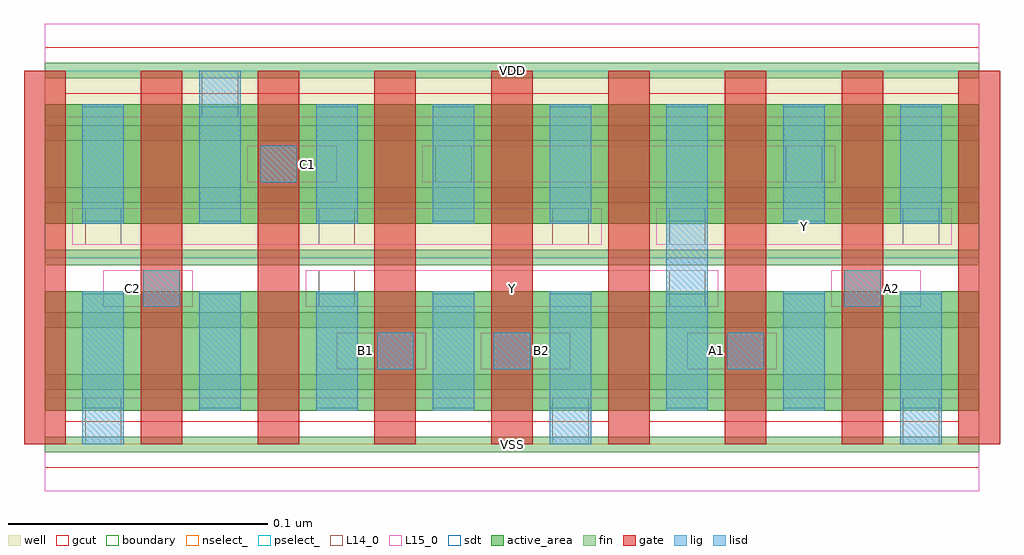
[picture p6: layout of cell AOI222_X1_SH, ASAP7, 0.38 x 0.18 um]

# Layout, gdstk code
import gdstk
lib = gdstk.Library(unit=1e-6, precision=2.5e-10)
def R(c, l, rs):  # rectangles x0, y0, x1, y1
    for r in rs: c.add(gdstk.rectangle(r[:2], r[2:], *l))
def A(c, l, x, y, w, h, nx, ny, dx, dy):  # array of equal rectangles
    R(c, l, [(x+i*dx, y+j*dy, x+i*dx+w, y+j*dy+h) for i in range(nx) for j in range(ny)])
def P(c, l, *ps):  # polygons
    for p in ps: c.add(gdstk.Polygon(p, *l))
well = (1, 0)
fin = (2, 0)
gate = (7, 0)
gcut = (10, 0)
active_area = (11, 0)
nselect_ = (12, 0)
pselect_ = (13, 0)
L14_0 = (14, 0)
L15_0 = (15, 0)
lig = (16, 0)
lisd = (17, 0)
sdt = (88, 0)
boundary = (100, 0)

aoi222_x1_sh = lib.new_cell('AOI222_X1_SH')
R(aoi222_x1_sh, well, [(0,0.072,0.36,0.144)])
A(aoi222_x1_sh, fin, 0, -0.003, 0.36, 0.006, 1, 7, 0, 0.024)
A(aoi222_x1_sh, gate, -0.008, 0, 0.016, 0.144, 9, 1, 0.045, 0)
P(aoi222_x1_sh, gcut, [(0,-0.009),(0,0),(-0.008,0),(-0.008,0.135),(0.008,0.135),(0.008,0.009),(0.217,0.009),(0.217,0.135),(0.233,0.135),(0.233,0.009),(0.352,0.009),(0.352,0.135),(-0.008,0.135),(-0.008,0.144),(0,0.144),(0,0.153),(0.36,0.153),(0.36,0.144),(0.368,0.144),(0.368,0),(0.36,0),(0.36,-0.009)])
R(aoi222_x1_sh, active_area, [(0,0.013,0.36,0.059), (0,0.085,0.36,0.131)])
R(aoi222_x1_sh, nselect_, [(0,0,0.36,0.072)])
R(aoi222_x1_sh, pselect_, [(0,0.072,0.36,0.144)])
A(aoi222_x1_sh, L14_0, 0.0155, 0.077, 0.014, 0.014, 3, 1, 0.09, 0)
R(aoi222_x1_sh, L14_0, [(0.0155,0,0.0295,0.018), (0.1955,0,0.2095,0.018), (0.3305,0,0.3445,0.018), (0.128,0.029,0.142,0.043), (0.173,0.029,0.187,0.043), (0.263,0.029,0.277,0.043), (0.038,0.053,0.052,0.067), (0.1055,0.053,0.1195,0.067), (0.2405,0.053,0.2545,0.067), (0.308,0.053,0.322,0.067), (0.2405,0.077,0.2545,0.091), (0.3305,0.077,0.3445,0.091), (0.083,0.101,0.097,0.115), (0.1505,0.101,0.1645,0.115), (0.2855,0.101,0.2995,0.115), (0.0605,0.126,0.0745,0.144)])
R(aoi222_x1_sh, L15_0, [(0,-0.018,0.36,0.018), (0.1125,0.029,0.147,0.043), (0.168,0.029,0.2025,0.043), (0.2475,0.029,0.282,0.043), (0.0225,0.053,0.057,0.067), (0.1005,0.053,0.2595,0.067), (0.303,0.053,0.3375,0.067), (0.0105,0.077,0.2145,0.091), (0.2355,0.077,0.3495,0.091), (0.078,0.101,0.1125,0.115), (0.1455,0.101,0.3045,0.115), (0,0.126,0.36,0.162)])
R(aoi222_x1_sh, lig, [(0.128,0.029,0.142,0.043), (0.173,0.029,0.187,0.043), (0.263,0.029,0.277,0.043), (0.038,0.053,0.052,0.067), (0.308,0.053,0.322,0.067), (0.083,0.101,0.097,0.115)])
A(aoi222_x1_sh, lisd, 0.0595, 0.013, 0.016, 0.046, 3, 1, 0.045, 0)
A(aoi222_x1_sh, lisd, 0.1045, 0.085, 0.016, 0.046, 3, 1, 0.045, 0)
R(aoi222_x1_sh, lisd, [(0.0145,0,0.0305,0.059), (0.1945,0,0.2105,0.059), (0.3295,0,0.3455,0.059), (0.2395,0.013,0.2555,0.131), (0.2845,0.013,0.3005,0.059), (0.0145,0.085,0.0305,0.131), (0.0595,0.085,0.0755,0.144), (0.2845,0.085,0.3005,0.131), (0.3295,0.085,0.3455,0.131)])
A(aoi222_x1_sh, sdt, 0.0145, 0.014, 0.016, 0.044, 8, 2, 0.045, 0.072)
R(aoi222_x1_sh, boundary, [(0,0,0.36,0.144)])
aoi222_x1_sh.add(gdstk.Label('B1', (0.1238,0.036), layer=15, texttype=251))
aoi222_x1_sh.add(gdstk.Label('VSS', (0.18,0), layer=15, texttype=251))
aoi222_x1_sh.add(gdstk.Label('VDD', (0.18,0.144), layer=15, texttype=251))
aoi222_x1_sh.add(gdstk.Label('A2', (0.3263,0.06), layer=15, texttype=251))
aoi222_x1_sh.add(gdstk.Label('VSS', (0.18,0), layer=15, texttype=251))
aoi222_x1_sh.add(gdstk.Label('VDD', (0.18,0.144), layer=15, texttype=251))
aoi222_x1_sh.add(gdstk.Label('A1', (0.2588,0.036), layer=15, texttype=251))
aoi222_x1_sh.add(gdstk.Label('VSS', (0.18,0), layer=15, texttype=251))
aoi222_x1_sh.add(gdstk.Label('VDD', (0.18,0.144), layer=15, texttype=251))
aoi222_x1_sh.add(gdstk.Label('C2', (0.0338,0.06), layer=15, texttype=251))
aoi222_x1_sh.add(gdstk.Label('VSS', (0.18,0), layer=15, texttype=251))
aoi222_x1_sh.add(gdstk.Label('VDD', (0.18,0.144), layer=15, texttype=251))
aoi222_x1_sh.add(gdstk.Label('Y', (0.2925,0.084), layer=15, texttype=251))
aoi222_x1_sh.add(gdstk.Label('Y', (0.18,0.06), layer=15, texttype=251))
aoi222_x1_sh.add(gdstk.Label('VSS', (0.18,0), layer=15, texttype=251))
aoi222_x1_sh.add(gdstk.Label('VDD', (0.18,0.144), layer=15, texttype=251))
aoi222_x1_sh.add(gdstk.Label('C1', (0.1013,0.108), layer=15, texttype=251))
aoi222_x1_sh.add(gdstk.Label('VSS', (0.18,0), layer=15, texttype=251))
aoi222_x1_sh.add(gdstk.Label('VDD', (0.18,0.144), layer=15, texttype=251))
aoi222_x1_sh.add(gdstk.Label('B2', (0.1913,0.036), layer=15, texttype=251))
aoi222_x1_sh.add(gdstk.Label('VSS', (0.18,0), layer=15, texttype=251))
aoi222_x1_sh.add(gdstk.Label('VDD', (0.18,0.144), layer=15, texttype=251))
aoi222_x1_sh.add(gdstk.Label('VSS', (0.18,0), layer=3, texttype=251))
aoi222_x1_sh.add(gdstk.Label('VSS', (0.18,0), layer=3, texttype=251))
aoi222_x1_sh.add(gdstk.Label('VSS', (0.18,0), layer=3, texttype=251))
aoi222_x1_sh.add(gdstk.Label('VSS', (0.18,0), layer=3, texttype=251))
aoi222_x1_sh.add(gdstk.Label('VSS', (0.18,0), layer=3, texttype=251))
aoi222_x1_sh.add(gdstk.Label('VSS', (0.18,0), layer=3, texttype=251))
aoi222_x1_sh.add(gdstk.Label('VSS', (0.18,0), layer=3, texttype=251))
aoi222_x1_sh.add(gdstk.Label('VDD', (0.18,0.144), layer=1, texttype=251))
aoi222_x1_sh.add(gdstk.Label('VDD', (0.18,0.144), layer=1, texttype=251))
aoi222_x1_sh.add(gdstk.Label('VDD', (0.18,0.144), layer=1, texttype=251))
aoi222_x1_sh.add(gdstk.Label('VDD', (0.18,0.144), layer=1, texttype=251))
aoi222_x1_sh.add(gdstk.Label('VDD', (0.18,0.144), layer=1, texttype=251))
aoi222_x1_sh.add(gdstk.Label('VDD', (0.18,0.144), layer=1, texttype=251))
aoi222_x1_sh.add(gdstk.Label('VDD', (0.18,0.144), layer=1, texttype=251))

lib.write_gds('AOI222_X1_SH.gds')
